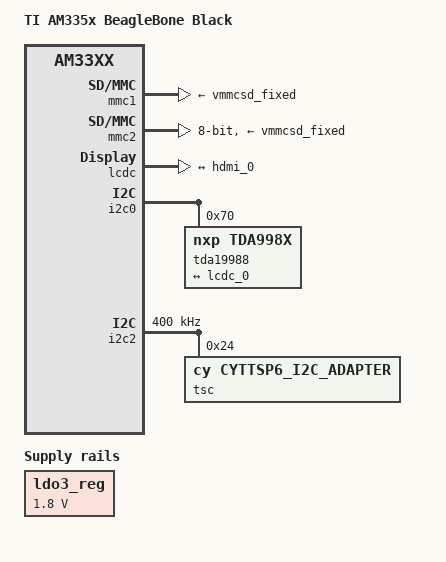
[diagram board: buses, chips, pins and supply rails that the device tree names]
/*
 * Copyright (C) 2012 Texas Instruments Incorporated - http://www.ti.com/
 *
 * This program is free software; you can redistribute it and/or modify
 * it under the terms of the GNU General Public License version 2 as
 * published by the Free Software Foundation.
 */
/dts-v1/;

#include "am33xx.dtsi"
#include "am335x-bone-common.dtsi"
/*#include <dt-bindings/interrupt-controller/irq.h>*/

/ {
	model = "TI AM335x BeagleBone Black";
	compatible = "ti,am335x-bone-black", "ti,am335x-bone", "ti,am33xx";
};

&ldo3_reg {
	regulator-min-microvolt = <1800000>;
	regulator-max-microvolt = <1800000>;
	regulator-always-on;
};

&mmc1 {
	vmmc-supply = <&vmmcsd_fixed>;
};

&mmc2 {
	vmmc-supply = <&vmmcsd_fixed>;
	pinctrl-names = "default";
	pinctrl-0 = <&emmc_pins>;
	bus-width = <8>;
	status = "okay";
};

&am33xx_pinmux {
	pinctrl-names = "default";
	pinctrl-0 = <&cyttsp6_pins>;

        cyttsp6_pins: pinmux_cyttsp6_pins {
                pinctrl-single,pins = <
                        /*0x1a4 0x37*/      /* gpmc_a14.gpio_38 INPUT PULLUP | MODE7 */
                        0x040 0x37      /* gpmc_a14.gpio_38 INPUT PULLUP | MODE7 */
                        0x1ac 0x7        /* gpmc_a13.gpio_37 OUTPUT | MODE7 */
                >;
        };

	nxp_hdmi_bonelt_pins: nxp_hdmi_bonelt_pins {
		pinctrl-single,pins = <
			0x1b0 0x03      /* xdma_event_intr0, OMAP_MUX_MODE3 | AM33XX_PIN_OUTPUT */
			0xa0 0x08       /* lcd_data0.lcd_data0, OMAP_MUX_MODE0 | AM33XX_PIN_OUTPUT | AM33XX_PULL_DISA */
			0xa4 0x08       /* lcd_data1.lcd_data1, OMAP_MUX_MODE0 | AM33XX_PIN_OUTPUT | AM33XX_PULL_DISA */
			0xa8 0x08       /* lcd_data2.lcd_data2, OMAP_MUX_MODE0 | AM33XX_PIN_OUTPUT | AM33XX_PULL_DISA */
			0xac 0x08       /* lcd_data3.lcd_data3, OMAP_MUX_MODE0 | AM33XX_PIN_OUTPUT | AM33XX_PULL_DISA */
			0xb0 0x08       /* lcd_data4.lcd_data4, OMAP_MUX_MODE0 | AM33XX_PIN_OUTPUT | AM33XX_PULL_DISA */
			0xb4 0x08       /* lcd_data5.lcd_data5, OMAP_MUX_MODE0 | AM33XX_PIN_OUTPUT | AM33XX_PULL_DISA */
			0xb8 0x08       /* lcd_data6.lcd_data6, OMAP_MUX_MODE0 | AM33XX_PIN_OUTPUT | AM33XX_PULL_DISA */
			0xbc 0x08       /* lcd_data7.lcd_data7, OMAP_MUX_MODE0 | AM33XX_PIN_OUTPUT | AM33XX_PULL_DISA */
			0xc0 0x08       /* lcd_data8.lcd_data8, OMAP_MUX_MODE0 | AM33XX_PIN_OUTPUT | AM33XX_PULL_DISA */
			0xc4 0x08       /* lcd_data9.lcd_data9, OMAP_MUX_MODE0 | AM33XX_PIN_OUTPUT | AM33XX_PULL_DISA */
			0xc8 0x08       /* lcd_data10.lcd_data10, OMAP_MUX_MODE0 | AM33XX_PIN_OUTPUT | AM33XX_PULL_DISA */
			0xcc 0x08       /* lcd_data11.lcd_data11, OMAP_MUX_MODE0 | AM33XX_PIN_OUTPUT | AM33XX_PULL_DISA */
			0xd0 0x08       /* lcd_data12.lcd_data12, OMAP_MUX_MODE0 | AM33XX_PIN_OUTPUT | AM33XX_PULL_DISA */
			0xd4 0x08       /* lcd_data13.lcd_data13, OMAP_MUX_MODE0 | AM33XX_PIN_OUTPUT | AM33XX_PULL_DISA */
			0xd8 0x08       /* lcd_data14.lcd_data14, OMAP_MUX_MODE0 | AM33XX_PIN_OUTPUT | AM33XX_PULL_DISA */
			0xdc 0x08       /* lcd_data15.lcd_data15, OMAP_MUX_MODE0 | AM33XX_PIN_OUTPUT | AM33XX_PULL_DISA */
			0xe0 0x00       /* lcd_vsync.lcd_vsync, OMAP_MUX_MODE0 | AM33XX_PIN_OUTPUT */
			0xe4 0x00       /* lcd_hsync.lcd_hsync, OMAP_MUX_MODE0 | AM33XX_PIN_OUTPUT */
			0xe8 0x00       /* lcd_pclk.lcd_pclk, OMAP_MUX_MODE0 | AM33XX_PIN_OUTPUT */
			0xec 0x00       /* lcd_ac_bias_en.lcd_ac_bias_en, OMAP_MUX_MODE0 | AM33XX_PIN_OUTPUT */
		>;
	};
	nxp_hdmi_bonelt_off_pins: nxp_hdmi_bonelt_off_pins {
		pinctrl-single,pins = <
			0x1b0 0x03      /* xdma_event_intr0, OMAP_MUX_MODE3 | AM33XX_PIN_OUTPUT */
		>;
	};
};

&lcdc {
	status = "okay";
	port {
		lcdc_0: endpoint@0 {
			remote-endpoint = <&hdmi_0>;
		};
	};
};

&i2c0 {
	tda19988 {
		compatible = "nxp,tda998x";
		reg = <0x70>;
		pinctrl-names = "default", "off";
		pinctrl-0 = <&nxp_hdmi_bonelt_pins>;
		pinctrl-1 = <&nxp_hdmi_bonelt_off_pins>;

		port {
			hdmi_0: endpoint@0 {
				remote-endpoint = <&lcdc_0>;
			};
		};
	};
};

&i2c2 {
	clock-frequency = <400000>;

        tsc@24 {
                compatible = "cy,cyttsp6_i2c_adapter";
                reg = <0x24>;
                /* GPIO 38, high-to-low edge triggered */
                /*interrupts = <6 IRQ_TYPE_EDGE_FALLING>;*/
                /*interrupt-parent = <&gpio1>;*/

                cy,core {
                        cy,irq_gpio = <&gpio1 16 GPIO_ACTIVE_LOW>;
                        cy,rst_gpio = <&gpio3 21 GPIO_ACTIVE_LOW>;
                        cy,err_gpio = <&gpio1 17 GPIO_ACTIVE_LOW>;

                        /* Enable cy,max_xfer_len to limit max I2C/SPI transfer length */
                        cy,max_xfer_len = <0x100>;

                        /* CY_CORE_FLAG_WAKE_ON_GESTURE */
                        /* cy,flags = <1>; */ 
                        /* CY_CORE_EWG_TAP_TAP | CY_CORE_EWG_TWO_FINGER_SLIDE */
                        /* cy,easy_wakeup_gesture = <3>; */
                        cy,btn_keys = <172 /* KEY_HOMEPAGE */
                                           /* previously was KEY_HOME, new Android versions use KEY_HOMEPAGE */
                                       139 /* KEY_MENU */
                                       158 /* KEY_BACK */
                                       217 /* KEY_SEARCH */
                                       114 /* KEY_VOLUMEDOWN */
                                       115 /* KEY_VOLUMEUP */
                                       212 /* KEY_CAMERA */
                                       116>; /* KEY_POWER */
                        cy,btn_keys-tag = <0>;

                        cy,mt {
                                cy,inp_dev_name = "cyttsp6_mt";
                                /* CY_MT_FLAG_FLIP | CY_MT_FLAG_INV_X | CY_MT_FLAG_INV_Y */
                               /* cy,flags = <0x38>;*/
                                cy,abs =
                                        /* ABS_MT_POSITION_X, CY_ABS_MIN_X, CY_ABS_MAX_X, 0, 0 */
                                        <0x35 0 1526 0 0
                                        /* ABS_MT_POSITION_Y, CY_ABS_MIN_Y, CY_ABS_MAX_Y, 0, 0 */
                                        0x36 0 768 0 0
                                        /* ABS_MT_PRESSURE, CY_ABS_MIN_P, CY_ABS_MAX_P, 0, 0 */
                                        0x3a 0 255 0 0
                                        /* CY_IGNORE_VALUE, CY_ABS_MIN_W, CY_ABS_MAX_W, 0, 0 */
                                        0xffff 0 255 0 0
                                        /* ABS_MT_TRACKING_ID, CY_ABS_MIN_T, CY_ABS_MAX_T, 0, 0 */
                                        0x39 0 15 0 0
                                        /* ABS_MT_TOUCH_MAJOR, 0, 255, 0, 0 */
                                        0x30 0 255 0 0
                                        /* ABS_MT_TOUCH_MINOR, 0, 255, 0, 0 */
                                        0x31 0 255 0 0
                                        /* ABS_MT_ORIENTATION, -127, 127, 0, 0 */
                                        0x34 0xffffff81 127 0 0
                                        /* ABS_MT_TOOL_TYPE, 0, MT_TOOL_MAX, 0, 0 */
                                        0x37 0 1 0 0
                                        /* ABS_DISTANCE, 0, 255, 0, 0 */
                                        0x19 0 255 0 0>;

                                cy,vkeys_x = <1366>;
                                cy,vkeys_y = <768>;

                                cy,virtual_keys = /* KeyCode CenterX CenterY Width Height */
                                        /* KEY_BACK */
                                        <158 1360 90 160 180
                                        /* KEY_MENU */
                                        139 1360 270 160 180
                                        /* KEY_HOMEPAGE */
                                        172 1360 450 160 180
                                        /* KEY SEARCH */
                                        217 1360 630 160 180>;
                        };

                        cy,btn {
                                cy,inp_dev_name = "cyttsp6_btn";
                        };

                        cy,proximity {
                                cy,inp_dev_name = "cyttsp6_proximity";
                                cy,abs =
                                        /* ABS_DISTANCE, CY_PROXIMITY_MIN_VAL, CY_PROXIMITY_MAX_VAL, 0, 0 */
                                        <0x19 0 1 0 0>;
                        };
                };
        };

};

&rtc {
	system-power-controller;
};
